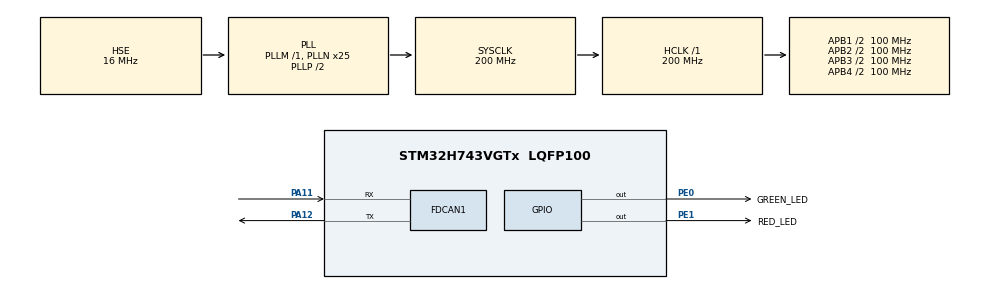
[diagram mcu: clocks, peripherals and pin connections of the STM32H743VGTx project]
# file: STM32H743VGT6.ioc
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CORTEX_M7.default_mode_Activation=1
FDCAN1.CalculateBaudRateNominal=1000000
FDCAN1.CalculateTimeBitNominal=1000
FDCAN1.CalculateTimeQuantumNominal=100.0
FDCAN1.NominalPrescaler=5
FDCAN1.NominalTimeSeg1=7
FDCAN1.NominalTimeSeg2=2
FDCAN1.RxFifo0ElmtsNbr=16
FDCAN1.TxFifoQueueElmtsNbr=8
FREERTOS.Tasks01=defaultTask,24,128,StartDefaultTask,Default,NULL,Dynamic,NULL,NULL
FREERTOS.configUSE_NEWLIB_REENTRANT=1
Mcu.Family=STM32H7
Mcu.Name=STM32H743VGTx
Mcu.Package=LQFP100
NVIC.PriorityGroup=NVIC_PRIORITYGROUP_4
NVIC.TIM1_UP_IRQn=true\:15\:0\:false\:false\:true\:false\:false\:true\:true
NVIC.TimeBase=TIM1_UP_IRQn
NVIC.TimeBaseIP=TIM1
PA11.Mode=FDCAN_Activate
PA11.Signal=FDCAN1_RX
PA12.Mode=FDCAN_Activate
PA12.Signal=FDCAN1_TX
PA13\ (JTMS/SWDIO).Mode=Serial_Wire
PA13\ (JTMS/SWDIO).Signal=DEBUG_JTMS-SWDIO
PA14\ (JTCK/SWCLK).Mode=Serial_Wire
PA14\ (JTCK/SWCLK).Signal=DEBUG_JTCK-SWCLK
PE0.GPIO_Label=GREEN_LED
PE0.Signal=GPIO_Output
PE1.GPIO_Label=RED_LED
PE1.Signal=GPIO_Output
PH0-OSC_IN\ (PH0).Mode=HSE-External-Oscillator
PH0-OSC_IN\ (PH0).Signal=RCC_OSC_IN
PH1-OSC_OUT\ (PH1).Mode=HSE-External-Oscillator
PH1-OSC_OUT\ (PH1).Signal=RCC_OSC_OUT
ProjectManager.HeapSize=0x200
ProjectManager.StackSize=0x400
ProjectManager.TargetToolchain=STM32CubeIDE
RCC.ADCFreq_Value=32250000
RCC.APB1Freq_Value=100000000
RCC.APB2Freq_Value=100000000
RCC.APB3Freq_Value=100000000
RCC.APB4Freq_Value=100000000
RCC.CortexFreq_Value=200000000
RCC.D1PPRE=RCC_APB3_DIV2
RCC.D2PPRE1=RCC_APB1_DIV2
RCC.D2PPRE2=RCC_APB2_DIV2
RCC.D3PPRE=RCC_APB4_DIV2
RCC.DIVM1=1
RCC.DIVN1=25
RCC.DIVQ1=8
RCC.HCLKFreq_Value=200000000
RCC.HSE_VALUE=16000000
RCC.PLLFRACN=0
RCC.PLLSourceVirtual=RCC_PLLSOURCE_HSE
RCC.SYSCLKFreq_VALUE=200000000
RCC.SYSCLKSource=RCC_SYSCLKSOURCE_PLLCLK
RCC.USBFreq_Value=50000000
VP_FREERTOS_VS_CMSIS_V2.Mode=CMSIS_V2
VP_MEMORYMAP_VS_MEMORYMAP.Mode=CurAppReg
VP_SYS_VS_tim1.Mode=TIM1
board=custom

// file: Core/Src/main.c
/* USER CODE BEGIN Header */
/**
  ******************************************************************************
  * @file           : main.c
  * @brief          : Main program body
  ******************************************************************************
  * @attention
  *
  * Copyright (c) 2025 STMicroelectronics.
  * All rights reserved.
  *
  * This software is licensed under terms that can be found in the LICENSE file
  * in the root directory of this software component.
  * If no LICENSE file comes with this software, it is provided AS-IS.
  *
  ******************************************************************************
  */
/* USER CODE END Header */
#include "main.h"
#include "cmsis_os.h"

/* USER CODE BEGIN Includes */
#include <string.h>              // for memcpy
#include <stdio.h>
#include <time.h>
#include "canard.h"
#include <assert.h>
#include <errno.h>
#include <stdbool.h>
/* USER CODE END Includes */

FDCAN_HandleTypeDef hfdcan1;

/* Definitions for defaultTask */
osThreadId_t defaultTaskHandle;
const osThreadAttr_t defaultTask_attributes = {
  .name = "defaultTask",
  .stack_size = 128 * 4,
  .priority = (osPriority_t) osPriorityNormal,
};

void SystemClock_Config(void);
static void MPU_Config(void);
static void MX_GPIO_Init(void);
static void MX_FDCAN1_Init(void);
void StartDefaultTask(void *argument);

/* USER CODE BEGIN 0 */

/*
  libcanard library instance and a memory pool for it to use
 */
static CanardInstance canard;
static uint8_t canard_memory_pool[1024]; // Adjust size as needed

/* USER CODE END 0 */

int main(void)
{

  /* MPU Configuration--------------------------------------------------------*/
  MPU_Config();

  /* MCU Configuration--------------------------------------------------------*/

  /* Reset of all peripherals, Initializes the Flash interface and the Systick. */
  HAL_Init();

  /* Configure the system clock */
  SystemClock_Config();

  /* Initialize all configured peripherals */
  MX_GPIO_Init();
  MX_FDCAN1_Init();
  /* USER CODE BEGIN 2 */

  // Start FDCAN
  HAL_FDCAN_Start(&hfdcan1);

  // Configure filter
  FDCAN_FilterTypeDef sFilterConfig;
  sFilterConfig.IdType = FDCAN_EXTENDED_ID;
  sFilterConfig.FilterIndex = 0;
  sFilterConfig.FilterType = FDCAN_FILTER_MASK;
  sFilterConfig.FilterConfig = FDCAN_FILTER_TO_RXFIFO0;
  sFilterConfig.FilterID1 = 0x00000000;       // Filter ID
  sFilterConfig.FilterID2 = 0x1FFFFFFF;       // Filter Mask - accept all
  sFilterConfig.RxBufferIndex = 0;

  HAL_FDCAN_ConfigFilter(&hfdcan1, &sFilterConfig);

  /* USER CODE END 2 */

  /* Init scheduler */
  osKernelInitialize();

  /* Create the thread(s) */
  /* creation of defaultTask */
  defaultTaskHandle = osThreadNew(StartDefaultTask, NULL, &defaultTask_attributes);

  /* Start scheduler */
  osKernelStart();

  /* We should never get here as control is now taken by the scheduler */

  /* Infinite loop */
  while (1)
  {

  }
}

void SystemClock_Config(void)
{
  RCC_OscInitTypeDef RCC_OscInitStruct = {0};
  RCC_ClkInitTypeDef RCC_ClkInitStruct = {0};

  /** Supply configuration update enable
  */
  HAL_PWREx_ConfigSupply(PWR_LDO_SUPPLY);

  /** Configure the main internal regulator output voltage
  */
  __HAL_PWR_VOLTAGESCALING_CONFIG(PWR_REGULATOR_VOLTAGE_SCALE3);

  while(!__HAL_PWR_GET_FLAG(PWR_FLAG_VOSRDY)) {}

  /** Initializes the RCC Oscillators according to the specified parameters
  * in the RCC_OscInitTypeDef structure.
  */
  RCC_OscInitStruct.OscillatorType = RCC_OSCILLATORTYPE_HSE;
  RCC_OscInitStruct.HSEState = RCC_HSE_ON;
  RCC_OscInitStruct.PLL.PLLState = RCC_PLL_ON;
  RCC_OscInitStruct.PLL.PLLSource = RCC_PLLSOURCE_HSE;
  RCC_OscInitStruct.PLL.PLLM = 1;
  RCC_OscInitStruct.PLL.PLLN = 25;
  RCC_OscInitStruct.PLL.PLLP = 2;
  RCC_OscInitStruct.PLL.PLLQ = 8;
  RCC_OscInitStruct.PLL.PLLR = 2;
  RCC_OscInitStruct.PLL.PLLRGE = RCC_PLL1VCIRANGE_3;
  RCC_OscInitStruct.PLL.PLLVCOSEL = RCC_PLL1VCOWIDE;
  RCC_OscInitStruct.PLL.PLLFRACN = 0;
  if (HAL_RCC_OscConfig(&RCC_OscInitStruct) != HAL_OK)
  {
    Error_Handler();
  }

  /** Initializes the CPU, AHB and APB buses clocks
  */
  RCC_ClkInitStruct.ClockType = RCC_CLOCKTYPE_HCLK|RCC_CLOCKTYPE_SYSCLK
                              |RCC_CLOCKTYPE_PCLK1|RCC_CLOCKTYPE_PCLK2
                              |RCC_CLOCKTYPE_D3PCLK1|RCC_CLOCKTYPE_D1PCLK1;
  RCC_ClkInitStruct.SYSCLKSource = RCC_SYSCLKSOURCE_PLLCLK;
  RCC_ClkInitStruct.SYSCLKDivider = RCC_SYSCLK_DIV1;
  RCC_ClkInitStruct.AHBCLKDivider = RCC_HCLK_DIV1;
  RCC_ClkInitStruct.APB3CLKDivider = RCC_APB3_DIV2;
  RCC_ClkInitStruct.APB1CLKDivider = RCC_APB1_DIV2;
  RCC_ClkInitStruct.APB2CLKDivider = RCC_APB2_DIV2;
  RCC_ClkInitStruct.APB4CLKDivider = RCC_APB4_DIV2;

  if (HAL_RCC_ClockConfig(&RCC_ClkInitStruct, FLASH_LATENCY_4) != HAL_OK)
  {
    Error_Handler();
  }
}

static void MX_FDCAN1_Init(void)
{

  hfdcan1.Instance = FDCAN1;
  hfdcan1.Init.FrameFormat = FDCAN_FRAME_CLASSIC;
  hfdcan1.Init.Mode = FDCAN_MODE_NORMAL;
  hfdcan1.Init.AutoRetransmission = DISABLE;
  hfdcan1.Init.TransmitPause = DISABLE;
  hfdcan1.Init.ProtocolException = DISABLE;
  hfdcan1.Init.NominalPrescaler = 5;
  hfdcan1.Init.NominalSyncJumpWidth = 1;
  hfdcan1.Init.NominalTimeSeg1 = 7;
  hfdcan1.Init.NominalTimeSeg2 = 2;
  hfdcan1.Init.DataPrescaler = 1;
  hfdcan1.Init.DataSyncJumpWidth = 1;
  hfdcan1.Init.DataTimeSeg1 = 1;
  hfdcan1.Init.DataTimeSeg2 = 1;
  hfdcan1.Init.MessageRAMOffset = 0;
  hfdcan1.Init.StdFiltersNbr = 0;
  hfdcan1.Init.ExtFiltersNbr = 0;
  hfdcan1.Init.RxFifo0ElmtsNbr = 16;
  hfdcan1.Init.RxFifo0ElmtSize = FDCAN_DATA_BYTES_8;
  hfdcan1.Init.RxFifo1ElmtsNbr = 0;
  hfdcan1.Init.RxFifo1ElmtSize = FDCAN_DATA_BYTES_8;
  hfdcan1.Init.RxBuffersNbr = 0;
  hfdcan1.Init.RxBufferSize = FDCAN_DATA_BYTES_8;
  hfdcan1.Init.TxEventsNbr = 0;
  hfdcan1.Init.TxBuffersNbr = 0;
  hfdcan1.Init.TxFifoQueueElmtsNbr = 8;
  hfdcan1.Init.TxFifoQueueMode = FDCAN_TX_FIFO_OPERATION;
  hfdcan1.Init.TxElmtSize = FDCAN_DATA_BYTES_8;
  if (HAL_FDCAN_Init(&hfdcan1) != HAL_OK)
  {
    Error_Handler();
  }

}

static void MX_GPIO_Init(void)
{
  GPIO_InitTypeDef GPIO_InitStruct = {0};

  /* GPIO Ports Clock Enable */
  __HAL_RCC_GPIOH_CLK_ENABLE();
  __HAL_RCC_GPIOA_CLK_ENABLE();
  __HAL_RCC_GPIOE_CLK_ENABLE();

  /*Configure GPIO pin Output Level */
  HAL_GPIO_WritePin(GPIOE, GREEN_LED_Pin|RED_LED_Pin, GPIO_PIN_RESET);

  /*Configure GPIO pins : GREEN_LED_Pin RED_LED_Pin */
  GPIO_InitStruct.Pin = GREEN_LED_Pin|RED_LED_Pin;
  GPIO_InitStruct.Mode = GPIO_MODE_OUTPUT_PP;
  GPIO_InitStruct.Pull = GPIO_NOPULL;
  GPIO_InitStruct.Speed = GPIO_SPEED_FREQ_LOW;
  HAL_GPIO_Init(GPIOE, &GPIO_InitStruct);

}

void StartDefaultTask(void *argument)
{
  /* USER CODE BEGIN 5 */

	canardInit(
			&canard,
			canard_memory_pool,
			sizeof(canard_memory_pool),
			NULL,
			NULL,
			NULL
	);

	/*
	  in this simple example we will use a fixed CAN node ID. This would
	  need to be a parameter or use dynamic node allocation in a real
	  application
	 */
	canard.node_id = 42; // Set your node ID

	static uint8_t transfer_id = 	0;

  /* Infinite loop */
  for(;;)
  {

      // Create a dummy payload
	  uint8_t payload[] = {0xAA, 0xBB, 0xCC};

	  // Create a transfer
	  const int16_t result = canardBroadcast(
			  &canard,
			  0x123456789ABCDEF0ULL, // data_type_signature (use correct one for your message
			  1234, // Subject-ID (port ID)
			  &transfer_id, // pointer to transfer
			  0, // priority (0 = nominal
			  payload, // pointer to payload
			  sizeof(payload) // payload
	  );
	  if (result < 0)
	  {
		  // Handle error (e.g., out of memory)
	  }

	  // Peek and send via FDCAN
	  CanardCANFrame* tx_frame = NULL;
	  while ((tx_frame = canardPeekTxQueue(&canard)) != NULL)
	  {
	      FDCAN_TxHeaderTypeDef tx_header;
	      tx_header.Identifier = tx_frame->id;
	      tx_header.IdType = FDCAN_EXTENDED_ID;
	      tx_header.TxFrameType = FDCAN_DATA_FRAME;
	      tx_header.DataLength = FDCAN_DLC_BYTES_8;
	      tx_header.ErrorStateIndicator = FDCAN_ESI_ACTIVE;
	      tx_header.BitRateSwitch = FDCAN_BRS_OFF;
	      tx_header.FDFormat = FDCAN_CLASSIC_CAN;
	      tx_header.TxEventFifoControl = FDCAN_NO_TX_EVENTS;
	      tx_header.MessageMarker = 0;

	      HAL_FDCAN_AddMessageToTxFifoQ(&hfdcan1, &tx_header, tx_frame->data);

	      canardPopTxQueue(&canard);
	  }

	  osDelay(500); // Send every second

  }
  /* USER CODE END 5 */
}

 /* MPU Configuration */

void MPU_Config(void)
{
  MPU_Region_InitTypeDef MPU_InitStruct = {0};

  /* Disables the MPU */
  HAL_MPU_Disable();

  /** Initializes and configures the Region and the memory to be protected
  */
  MPU_InitStruct.Enable = MPU_REGION_ENABLE;
  MPU_InitStruct.Number = MPU_REGION_NUMBER0;
  MPU_InitStruct.BaseAddress = 0x0;
  MPU_InitStruct.Size = MPU_REGION_SIZE_4GB;
  MPU_InitStruct.SubRegionDisable = 0x87;
  MPU_InitStruct.TypeExtField = MPU_TEX_LEVEL0;
  MPU_InitStruct.AccessPermission = MPU_REGION_NO_ACCESS;
  MPU_InitStruct.DisableExec = MPU_INSTRUCTION_ACCESS_DISABLE;
  MPU_InitStruct.IsShareable = MPU_ACCESS_SHAREABLE;
  MPU_InitStruct.IsCacheable = MPU_ACCESS_NOT_CACHEABLE;
  MPU_InitStruct.IsBufferable = MPU_ACCESS_NOT_BUFFERABLE;

  HAL_MPU_ConfigRegion(&MPU_InitStruct);
  /* Enables the MPU */
  HAL_MPU_Enable(MPU_PRIVILEGED_DEFAULT);

}

void HAL_TIM_PeriodElapsedCallback(TIM_HandleTypeDef *htim)
{
  if (htim->Instance == TIM1)
  {
    HAL_IncTick();
  }
}

void Error_Handler(void)
{
  __disable_irq();
  while (1)
  {
  }
}
